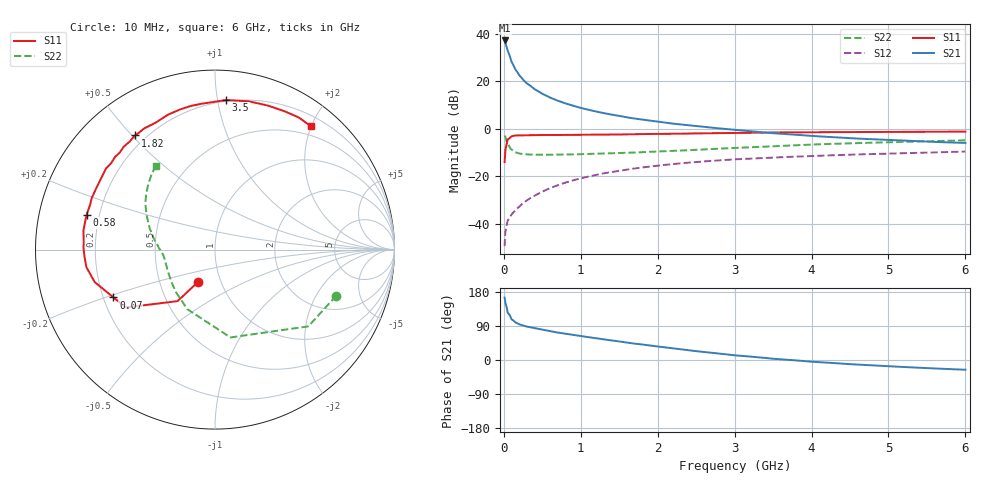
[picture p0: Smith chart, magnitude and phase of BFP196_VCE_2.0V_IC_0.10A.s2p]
! Infineon Technologies  Discrete & RF Semiconductors
! BFP196
! VCE = 2.0 V,  IC = 0.10A
! Common Emitter S-Parameters:  Jan 2016
# GHz  S  MA  R  50
!  f  S11  S21  S12  S22
! GHz  MAG  ANG  MAG  ANG  MAG  ANG  MAG  ANG
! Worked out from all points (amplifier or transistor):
!   210 points, 10 MHz to 6 GHz, reference 50 ohm
!   highest |S21| = 37.1 dB at 10 MHz (marker M1)
!   |S21| within 3 dB of that: start of sweep to 38.41 MHz
!   unconditionally stable (mu >= 1): 262.7 MHz to end of sweep
!   at 185 MHz: K = 0.90, MSG = 28.3 dB, |S12| = -33.2 dB
!   at 1.52 GHz: K = 1.11, MAG = 9.4 dB, |S12| = -17.5 dB
!   at 6 GHz: K = 1.02, MAG = 1.0 dB, |S12| = -9.6 dB
!   S11 on the Smith chart (normalised r, x): 10 MHz: 0.78, -0.29; 70 MHz: 0.24, -0.21; 580 MHz: 0.15, +0.13; 1.82 GHz: 0.16, +0.51; 3.5 GHz: 0.19, +1.06; 6 GHz: 0.35, +2.00
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0.01  0.2002 -117.4  71.99 164.8  0.0034 70.9  0.7227 -20.8
0.02  0.3547 -126.0  64.97 150.6  0.0068 66.8  0.6736 -39.4
0.05  0.5922 -147.0  44.25 125.0  0.0116 50.7  0.497 -80.0
0.07  0.6254 -154.8  36.46 120.1  0.0133 50.7  0.4265 -91.4
0.1  0.6943 -164.9  25.67 107.3  0.0158 50.8  0.366 -115.0
0.15  0.7231 -172.2  17.72 99.2  0.0193 55.3  0.3215 -132.6
0.2  0.7281 -176.9  13.46 94.2  0.023 59.4  0.303 -143.0
0.24  0.7318 -179.9  11.28 91.6  0.0263 61.1  0.295 -148.9
0.3  0.7324 176.8  8.999 88.1  0.0313 64.6  0.2894 -154.8
0.4  0.7406 171.8  6.805 83.8  0.0392 66.4  0.285 -161.3
0.5  0.7405 168.1  5.443 80.0  0.0475 67.5  0.2842 -165.4
0.58  0.7405 164.9  4.717 77.1  0.0546 67.4  0.2846 -167.7
0.8  0.7445 157.2  3.419 69.4  0.0736 65.7  0.2883 -172.2
1.02  0.7471 149.1  2.7 62.6  0.0924 63.5  0.2932 -175.4
1.32  0.7538 139.6  2.099 53.8  0.1173 59.3  0.3028 -179.1
1.82  0.7756 124.9  1.545 40.4  0.1551 51.5  0.3224 175.4
2.02  0.7817 119.8  1.392 35.1  0.1693 48.3  0.3338 172.8
3.1  0.818 93.4  0.918 10.8  0.2316 31.6  0.4017 157.8
3.5  0.8357 85.7  0.808 3.3  0.2491 25.9  0.4308 152.5
4.1  0.8478 75.6  0.692 -5.7  0.2712 18.4  0.4726 145.0
5.1  0.8638 62.2  0.572 -17.6  0.3042 7.1  0.5258 134.4
6  0.8703 52.1  0.504 -25.7  0.3316 -3.0  0.5718 125.3
